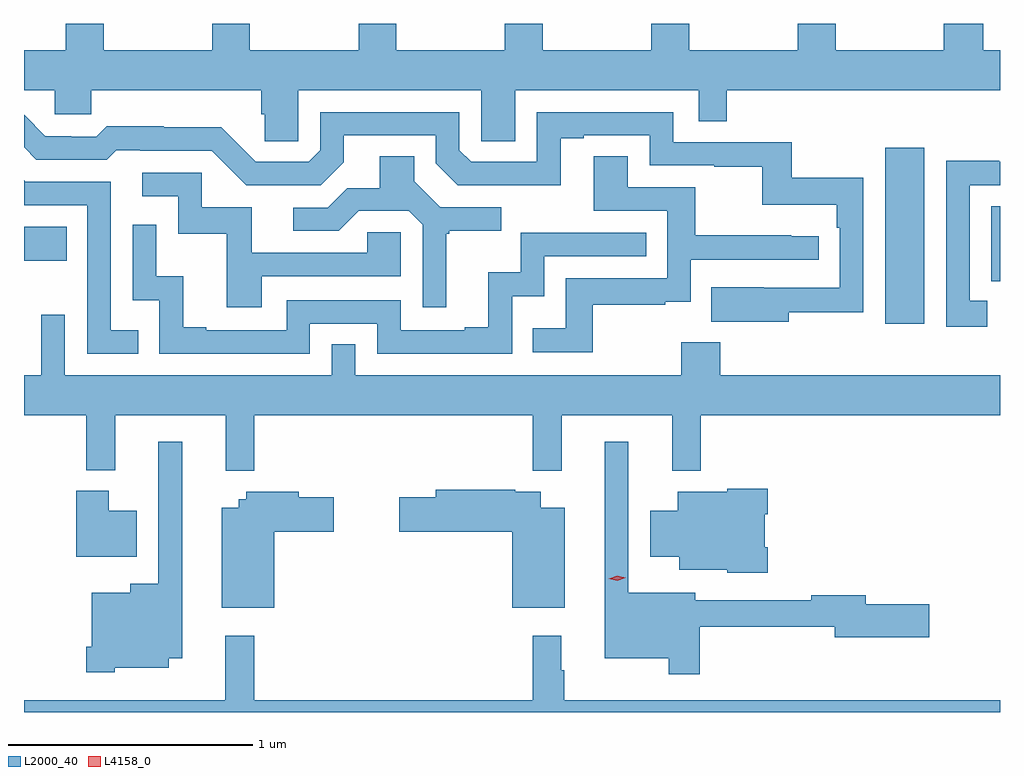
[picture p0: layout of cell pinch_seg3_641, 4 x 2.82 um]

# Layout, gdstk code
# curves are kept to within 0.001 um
import gdstk
lib = gdstk.Library(unit=1e-6, precision=1e-09)
def R(c, l, rs):  # rectangles x0, y0, x1, y1
    for r in rs: c.add(gdstk.rectangle(r[:2], r[2:], *l))
def P(c, l, *ps):  # polygons
    for p in ps: c.add(gdstk.Polygon(p, *l))
L2000_40 = (2000, 40)
L4158_0 = (4158, 0)

pinch_seg3_641 = lib.new_cell('pinch_seg3_641')
R(pinch_seg3_641, L2000_40, [(1026.689,667.992,1026.85,668.713), (1027.124,668.166,1027.16,668.473), (1023.16,668.249,1023.335,668.389)])
P(pinch_seg3_641, L2000_40, [(1024.284,668.948),(1025.034,668.948),(1025.034,668.74),(1025.173,668.74),(1025.173,668.948),(1025.925,668.948),(1025.925,668.821),(1026.041,668.821),(1026.041,668.948),(1027.16,668.948),(1027.16,669.112),(1027.091,669.112),(1027.091,669.22),(1026.93,669.22),(1026.93,669.112),(1026.486,669.112),(1026.486,669.22),(1026.331,669.22),(1026.331,669.112),(1025.886,669.112),(1025.886,669.22),(1025.731,669.22),(1025.731,669.112),(1025.286,669.112),(1025.286,669.22),(1025.131,669.22),(1025.131,669.112),(1024.686,669.112),(1024.686,669.22),(1024.531,669.22),(1024.531,669.112),(1024.086,669.112),(1024.086,669.22),(1023.931,669.22),(1023.931,669.112),(1023.486,669.112),(1023.486,669.22),(1023.331,669.22),(1023.331,669.112),(1023.16,669.112),(1023.16,668.948),(1023.285,668.948),(1023.285,668.85),(1023.435,668.85),(1023.435,668.948),(1024.132,668.948),(1024.132,668.85),(1024.147,668.85),(1024.147,668.74),(1024.284,668.74)],
  [(1026.295,668.038),(1026.6,668.038),(1026.6,668.59),(1026.307,668.59),(1026.307,668.736),(1025.82,668.736),(1025.82,668.859),(1025.262,668.859),(1025.262,668.655),(1024.992,668.655),(1024.944,668.703),(1024.944,668.859),(1024.374,668.859),(1024.374,668.703),(1024.326,668.655),(1024.11,668.655),(1023.968,668.797),(1023.732,668.797),(1023.732,668.8),(1023.499,668.8),(1023.457,668.757),(1023.354,668.757),(1023.354,668.76),(1023.247,668.76),(1023.16,668.847),(1023.16,668.714),(1023.21,668.664),(1023.499,668.664),(1023.538,668.703),(1023.637,668.703),(1023.637,668.7),(1023.93,668.7),(1024.071,668.559),(1024.377,668.559),(1024.471,668.653),(1024.471,668.763),(1024.848,668.763),(1024.848,668.649),(1024.938,668.559),(1025.359,668.558),(1025.359,668.751),(1025.455,668.751),(1025.455,668.763),(1025.724,668.763),(1025.724,668.64),(1025.989,668.64),(1025.989,668.635),(1026.186,668.635),(1026.186,668.48),(1026.491,668.48),(1026.491,668.384),(1026.504,668.384),(1026.504,668.139),(1025.977,668.14),(1025.977,668),(1026.295,668)],
  [(1025.491,668.07),(1025.789,668.07),(1025.789,668.081),(1025.892,668.081),(1025.892,668.253),(1026.418,668.253),(1026.418,668.349),(1026.305,668.349),(1026.305,668.354),(1025.912,668.354),(1025.912,668.55),(1025.635,668.55),(1025.635,668.678),(1025.495,668.678),(1025.495,668.454),(1025.796,668.454),(1025.796,668.178),(1025.38,668.178),(1025.38,667.972),(1025.245,667.972),(1025.245,667.875),(1025.491,667.875)],
  [(1024.891,668.361),(1024.903,668.361),(1024.903,668.372),(1025.116,668.372),(1025.116,668.469),(1024.866,668.469),(1024.759,668.576),(1024.759,668.678),(1024.619,668.678),(1024.619,668.546),(1024.484,668.546),(1024.404,668.466),(1024.263,668.466),(1024.263,668.373),(1024.45,668.373),(1024.531,668.454),(1024.737,668.454),(1024.794,668.397),(1024.794,668.058),(1024.891,668.058)],
  [(1027.108,668.085),(1027.035,668.085),(1027.035,668.559),(1027.16,668.559),(1027.16,668.655),(1027.157,668.655),(1027.157,668.66),(1026.939,668.66),(1026.939,667.98),(1027.108,667.98)],
  [(1024.135,668.187),(1024.704,668.187),(1024.704,668.367),(1024.567,668.367),(1024.567,668.283),(1024.093,668.283),(1024.093,668.469),(1023.888,668.469),(1023.888,668.61),(1023.645,668.61),(1023.645,668.514),(1023.792,668.514),(1023.792,668.361),(1023.991,668.361),(1023.991,668.058),(1024.135,668.058)],
  [(1023.629,667.965),(1023.516,667.965),(1023.516,668.574),(1023.166,668.574),(1023.16,668.58),(1023.16,668.478),(1023.42,668.478),(1023.42,667.869),(1023.629,667.869)],
  [(1024.332,667.992),(1024.608,667.992),(1024.608,667.869),(1025.16,667.869),(1025.16,668.105),(1025.292,668.105),(1025.292,668.268),(1025.711,668.268),(1025.711,668.364),(1025.196,668.364),(1025.196,668.203),(1025.063,668.203),(1025.063,667.978),(1024.967,667.978),(1024.967,667.965),(1024.704,667.965),(1024.704,668.088),(1024.236,668.088),(1024.236,667.965),(1023.907,667.965),(1023.907,667.978),(1023.812,667.978),(1023.812,668.186),(1023.702,668.186),(1023.702,668.398),(1023.606,668.398),(1023.606,668.088),(1023.714,668.088),(1023.714,667.869),(1024.332,667.869)],
  [(1024.103,667.616),(1025.245,667.616),(1025.245,667.388),(1025.363,667.388),(1025.363,667.616),(1025.816,667.616),(1025.816,667.388),(1025.933,667.388),(1025.933,667.616),(1027.16,667.616),(1027.16,667.78),(1026.014,667.78),(1026.014,667.915),(1025.853,667.915),(1025.853,667.78),(1024.518,667.78),(1024.518,667.907),(1024.422,667.907),(1024.422,667.78),(1023.327,667.78),(1023.327,668.029),(1023.23,668.029),(1023.23,667.78),(1023.16,667.78),(1023.16,667.616),(1023.415,667.616),(1023.415,667.391),(1023.533,667.391),(1023.533,667.616),(1023.986,667.616),(1023.986,667.388),(1024.103,667.388)],
  [(1025.93,666.75),(1026.482,666.75),(1026.482,666.707),(1026.871,666.707),(1026.871,666.842),(1026.61,666.842),(1026.61,666.878),(1026.386,666.878),(1026.386,666.858),(1025.911,666.858),(1025.911,666.889),(1025.637,666.889),(1025.637,667.507),(1025.54,667.507),(1025.54,666.62),(1025.802,666.62),(1025.802,666.555),(1025.93,666.555)],
  [(1023.531,666.581),(1023.754,666.581),(1023.754,666.62),(1023.808,666.62),(1023.808,667.507),(1023.711,667.507),(1023.711,666.925),(1023.596,666.925),(1023.596,666.889),(1023.437,666.889),(1023.437,666.667),(1023.416,666.667),(1023.416,666.563),(1023.531,666.563)],
  [(1026.209,667.075),(1026.196,667.075),(1026.196,667.211),(1026.209,667.211),(1026.209,667.315),(1026.042,667.315),(1026.042,667.303),(1025.84,667.303),(1025.84,667.225),(1025.726,667.225),(1025.726,667.037),(1025.846,667.037),(1025.846,666.983),(1026.042,666.983),(1026.042,666.971),(1026.209,666.971)],
  [(1025.377,667.237),(1025.278,667.237),(1025.278,667.303),(1025.174,667.303),(1025.174,667.311),(1024.847,667.311),(1024.847,667.281),(1024.698,667.281),(1024.698,667.139),(1025.162,667.139),(1025.162,666.827),(1025.377,666.827)],
  [(1023.622,667.225),(1023.508,667.225),(1023.508,667.306),(1023.374,667.306),(1023.374,667.037),(1023.622,667.037)],
  [(1024.186,667.139),(1024.429,667.139),(1024.429,667.281),(1024.285,667.281),(1024.285,667.303),(1024.07,667.303),(1024.07,667.273),(1024.04,667.273),(1024.04,667.237),(1023.971,667.237),(1023.971,666.827),(1024.186,666.827)],
  [(1027.16,666.448),(1025.374,666.448),(1025.374,666.572),(1025.362,666.572),(1025.362,666.712),(1025.245,666.712),(1025.245,666.448),(1024.103,666.448),(1024.103,666.712),(1023.985,666.712),(1023.985,666.448),(1023.16,666.448),(1023.16,666.4),(1027.16,666.4)])
P(pinch_seg3_641, L4158_0, [(1025.592,666.939),(1025.556,666.947),(1025.556,666.947),(1025.556,666.947),(1025.591,666.959),(1025.627,666.95),(1025.627,666.95),(1025.627,666.95)])

lib.write_gds('pinch_seg3_641.gds')
